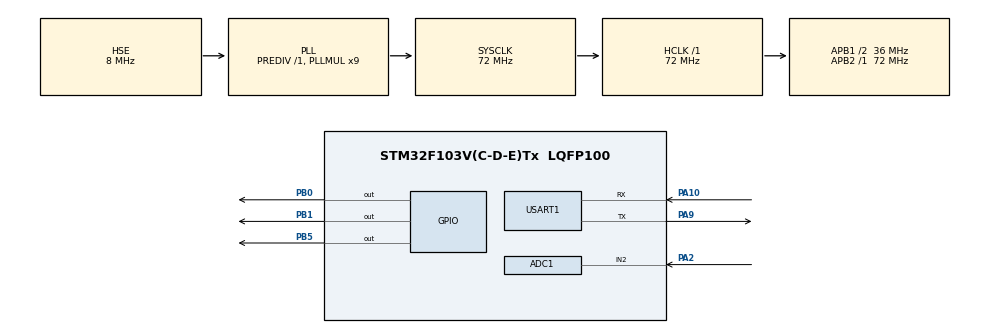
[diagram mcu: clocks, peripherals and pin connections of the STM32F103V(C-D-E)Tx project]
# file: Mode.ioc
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ADC1.Channel-2\#ChannelRegularConversion=ADC_CHANNEL_2
ADC1.ContinuousConvMode=ENABLE
ADC1.NbrOfConversionFlag=1
ADC1.Rank-2\#ChannelRegularConversion=1
ADC1.SamplingTime-2\#ChannelRegularConversion=ADC_SAMPLETIME_1CYCLE_5
ADC1.master=1
Mcu.Family=STM32F1
Mcu.Name=STM32F103V(C-D-E)Tx
Mcu.Package=LQFP100
NVIC.PriorityGroup=NVIC_PRIORITYGROUP_4
NVIC.USART1_IRQn=true\:0\:0\:false\:false\:true\:true\:true
OSC_IN.Mode=HSE-External-Oscillator
OSC_IN.Signal=RCC_OSC_IN
OSC_OUT.Mode=HSE-External-Oscillator
OSC_OUT.Signal=RCC_OSC_OUT
PA10.Mode=Asynchronous
PA10.Signal=USART1_RX
PA13.Mode=Serial_Wire
PA13.Signal=SYS_JTMS-SWDIO
PA14.Mode=Serial_Wire
PA14.Signal=SYS_JTCK-SWCLK
PA2.Signal=ADCx_IN2
PA9.Mode=Asynchronous
PA9.Signal=USART1_TX
PB0.Signal=GPIO_Output
PB1.Signal=GPIO_Output
PB5.Signal=GPIO_Output
ProjectManager.HeapSize=0x200
ProjectManager.StackSize=0x400
ProjectManager.TargetToolchain=STM32CubeIDE
RCC.ADCPresc=RCC_ADCPCLK2_DIV6
RCC.AHBFreq_Value=72000000
RCC.APB1CLKDivider=RCC_HCLK_DIV2
RCC.APB1Freq_Value=36000000
RCC.APB1TimFreq_Value=72000000
RCC.APB2Freq_Value=72000000
RCC.APB2TimFreq_Value=72000000
RCC.HCLKFreq_Value=72000000
RCC.PLLMUL=RCC_PLL_MUL9
RCC.PLLSourceVirtual=RCC_PLLSOURCE_HSE
RCC.SYSCLKFreq_VALUE=72000000
RCC.SYSCLKSource=RCC_SYSCLKSOURCE_PLLCLK
RCC.USBFreq_Value=72000000
SH.ADCx_IN2.0=ADC1_IN2,IN2
USART1.VirtualMode=VM_ASYNC
board=custom

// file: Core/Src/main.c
/* USER CODE BEGIN Header */
/**
  ******************************************************************************
  * @file           : main.c
  * @brief          : Main program body
  ******************************************************************************
  * @attention
  *
  * <h2><center>&copy; Copyright (c) 2019 STMicroelectronics.
  * All rights reserved.</center></h2>
  *
  * This software component is licensed by ST under BSD 3-Clause license,
  * the "License"; You may not use this file except in compliance with the
  * License. You may obtain a copy of the License at:
  *                        opensource.org/licenses/BSD-3-Clause
  *
  ******************************************************************************
  */
/* USER CODE END Header */

#include "main.h"

ADC_HandleTypeDef hadc1;

UART_HandleTypeDef huart1;

/* USER CODE BEGIN PV */

#ifdef __GNUC__
#define PUTCHAR_PROTOTYPE int __io_putchar(int ch)
#else
#define PUTCHAR_PROTOTYPE int fputc(int ch, FILE *f)
#endif
PUTCHAR_PROTOTYPE
{
    //具体哪个串口可以更改huart1为其它串�?

    HAL_UART_Transmit(&huart1 , (uint8_t *)&ch, 1 , 0xffff);
    return ch;
}

/* USER CODE END PV */

void SystemClock_Config(void);
static void MX_GPIO_Init(void);
static void MX_ADC1_Init(void);
static void MX_USART1_UART_Init(void);

int main(void)
{
  /* USER CODE BEGIN 1 */

	uint16_t AdcConvertedValue;
	float AdcConvertedVotage;

  /* USER CODE END 1 */

  /* MCU Configuration--------------------------------------------------------*/

  /* Reset of all peripherals, Initializes the Flash interface and the Systick. */
  HAL_Init();

  /* Configure the system clock */
  SystemClock_Config();

  /* Initialize all configured peripherals */
  MX_GPIO_Init();
  MX_ADC1_Init();
  MX_USART1_UART_Init();

  /* Infinite loop */
  while (1)
  {

    /* USER CODE BEGIN 3 */
	  	  HAL_ADC_Start(&hadc1);//轮询模式

	  	  HAL_ADC_PollForConversion(&hadc1, 50);

	  	  if(HAL_IS_BIT_SET(HAL_ADC_GetState(&hadc1), HAL_ADC_STATE_REG_EOC))
	  	  {
	  		  AdcConvertedValue = HAL_ADC_GetValue(&hadc1);
	  		  AdcConvertedVotage = (float) AdcConvertedValue*3.3/4096;
	  		  printf("ADC Value : %d \r\n", AdcConvertedValue);
	  		  printf("ADC Conversion voltage value : %.2f V \r\n", AdcConvertedVotage);
	  	  }
	  	  HAL_Delay(1000);

	  	  HAL_GPIO_TogglePin(GPIOB,GPIO_PIN_0);
	  	  HAL_GPIO_TogglePin(GPIOB,GPIO_PIN_5);
	  	  HAL_Delay(1000);
	  	  HAL_GPIO_TogglePin(GPIOB,GPIO_PIN_1);
	  	  HAL_GPIO_TogglePin(GPIOB,GPIO_PIN_0);
	  	  HAL_Delay(1000);
	  	  HAL_GPIO_TogglePin(GPIOB,GPIO_PIN_5);
	  	  HAL_GPIO_TogglePin(GPIOB,GPIO_PIN_0);
	  	  HAL_Delay(1000);
  }
  /* USER CODE END 3 */
}

void SystemClock_Config(void)
{
  RCC_OscInitTypeDef RCC_OscInitStruct = {0};
  RCC_ClkInitTypeDef RCC_ClkInitStruct = {0};
  RCC_PeriphCLKInitTypeDef PeriphClkInit = {0};

  /** Initializes the CPU, AHB and APB busses clocks
  */
  RCC_OscInitStruct.OscillatorType = RCC_OSCILLATORTYPE_HSE;
  RCC_OscInitStruct.HSEState = RCC_HSE_ON;
  RCC_OscInitStruct.HSEPredivValue = RCC_HSE_PREDIV_DIV1;
  RCC_OscInitStruct.HSIState = RCC_HSI_ON;
  RCC_OscInitStruct.PLL.PLLState = RCC_PLL_ON;
  RCC_OscInitStruct.PLL.PLLSource = RCC_PLLSOURCE_HSE;
  RCC_OscInitStruct.PLL.PLLMUL = RCC_PLL_MUL9;
  if (HAL_RCC_OscConfig(&RCC_OscInitStruct) != HAL_OK)
  {
    Error_Handler();
  }
  /** Initializes the CPU, AHB and APB busses clocks
  */
  RCC_ClkInitStruct.ClockType = RCC_CLOCKTYPE_HCLK|RCC_CLOCKTYPE_SYSCLK
                              |RCC_CLOCKTYPE_PCLK1|RCC_CLOCKTYPE_PCLK2;
  RCC_ClkInitStruct.SYSCLKSource = RCC_SYSCLKSOURCE_PLLCLK;
  RCC_ClkInitStruct.AHBCLKDivider = RCC_SYSCLK_DIV1;
  RCC_ClkInitStruct.APB1CLKDivider = RCC_HCLK_DIV2;
  RCC_ClkInitStruct.APB2CLKDivider = RCC_HCLK_DIV1;

  if (HAL_RCC_ClockConfig(&RCC_ClkInitStruct, FLASH_LATENCY_2) != HAL_OK)
  {
    Error_Handler();
  }
  PeriphClkInit.PeriphClockSelection = RCC_PERIPHCLK_ADC;
  PeriphClkInit.AdcClockSelection = RCC_ADCPCLK2_DIV6;
  if (HAL_RCCEx_PeriphCLKConfig(&PeriphClkInit) != HAL_OK)
  {
    Error_Handler();
  }
}

static void MX_ADC1_Init(void)
{

  ADC_ChannelConfTypeDef sConfig = {0};

  /** Common config
  */
  hadc1.Instance = ADC1;
  hadc1.Init.ScanConvMode = ADC_SCAN_DISABLE;
  hadc1.Init.ContinuousConvMode = ENABLE;
  hadc1.Init.DiscontinuousConvMode = DISABLE;
  hadc1.Init.ExternalTrigConv = ADC_SOFTWARE_START;
  hadc1.Init.DataAlign = ADC_DATAALIGN_RIGHT;
  hadc1.Init.NbrOfConversion = 1;
  if (HAL_ADC_Init(&hadc1) != HAL_OK)
  {
    Error_Handler();
  }
  /** Configure Regular Channel
  */
  sConfig.Channel = ADC_CHANNEL_2;
  sConfig.Rank = ADC_REGULAR_RANK_1;
  sConfig.SamplingTime = ADC_SAMPLETIME_1CYCLE_5;
  if (HAL_ADC_ConfigChannel(&hadc1, &sConfig) != HAL_OK)
  {
    Error_Handler();
  }

}

static void MX_USART1_UART_Init(void)
{

  huart1.Instance = USART1;
  huart1.Init.BaudRate = 115200;
  huart1.Init.WordLength = UART_WORDLENGTH_8B;
  huart1.Init.StopBits = UART_STOPBITS_1;
  huart1.Init.Parity = UART_PARITY_NONE;
  huart1.Init.Mode = UART_MODE_TX_RX;
  huart1.Init.HwFlowCtl = UART_HWCONTROL_NONE;
  huart1.Init.OverSampling = UART_OVERSAMPLING_16;
  if (HAL_UART_Init(&huart1) != HAL_OK)
  {
    Error_Handler();
  }

}

static void MX_GPIO_Init(void)
{
  GPIO_InitTypeDef GPIO_InitStruct = {0};

  /* GPIO Ports Clock Enable */
  __HAL_RCC_GPIOA_CLK_ENABLE();
  __HAL_RCC_GPIOB_CLK_ENABLE();

  /*Configure GPIO pin Output Level */
  HAL_GPIO_WritePin(GPIOB, GPIO_PIN_0|GPIO_PIN_1|GPIO_PIN_5, GPIO_PIN_RESET);

  /*Configure GPIO pins : PB0 PB1 PB5 */
  GPIO_InitStruct.Pin = GPIO_PIN_0|GPIO_PIN_1|GPIO_PIN_5;
  GPIO_InitStruct.Mode = GPIO_MODE_OUTPUT_PP;
  GPIO_InitStruct.Pull = GPIO_NOPULL;
  GPIO_InitStruct.Speed = GPIO_SPEED_FREQ_LOW;
  HAL_GPIO_Init(GPIOB, &GPIO_InitStruct);

}

void Error_Handler(void)
{
}

/************************ (C) COPYRIGHT STMicroelectronics *****END OF FILE****/
